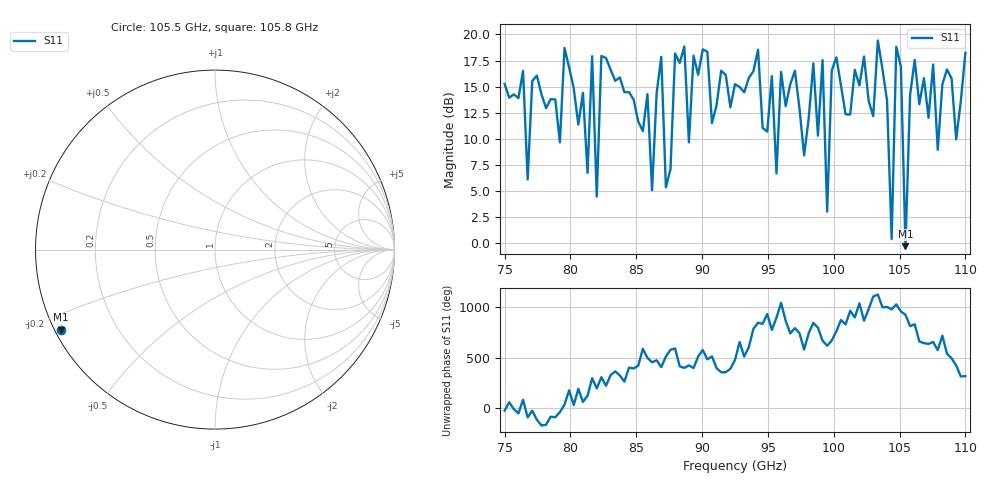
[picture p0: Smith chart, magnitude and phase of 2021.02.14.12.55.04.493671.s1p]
!Created with skrf (http://scikit-rf.org).
# GHz S RI R 50.0
!freq ReS11 ImS11
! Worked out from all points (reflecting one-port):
!   101 points, 75 GHz to 110 GHz, reference 50 ohm
!   lowest |S11| = -0.3 dB at 105.5 GHz (marker M1), VSWR 64.69, Z = 0.819 - j12.2 ohm
!   phase of S11 starts at -22 deg and turns +341 deg over the sweep
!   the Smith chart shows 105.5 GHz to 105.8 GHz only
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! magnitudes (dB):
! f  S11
! 75 GHz  15.3
! 76.4 GHz  16.5
! 76.75 GHz  6.1
! 79.55 GHz  18.7
! 81.3 GHz  6.7
! 81.65 GHz  17.9
! 82 GHz  4.5
! 82.35 GHz  17.9
! 83.75 GHz  15.9
! 86.2 GHz  5.1
! 86.9 GHz  17.9
! 87.25 GHz  5.4
! 88.3 GHz  17.3
! 92.5 GHz  15.2
! 95.3 GHz  16.0
! 95.65 GHz  6.7
! 97.05 GHz  16.5
! 97.75 GHz  8.4
! 99.15 GHz  17.5
! 99.5 GHz  3.0
! 99.85 GHz  16.6
! 101.2 GHz  12.3
! 103.3 GHz  19.4
! 104.4 GHz  0.4
! 104.8 GHz  18.8
! 105.5 GHz  -0.3
! 105.8 GHz  14.2
! 110 GHz  18.2
